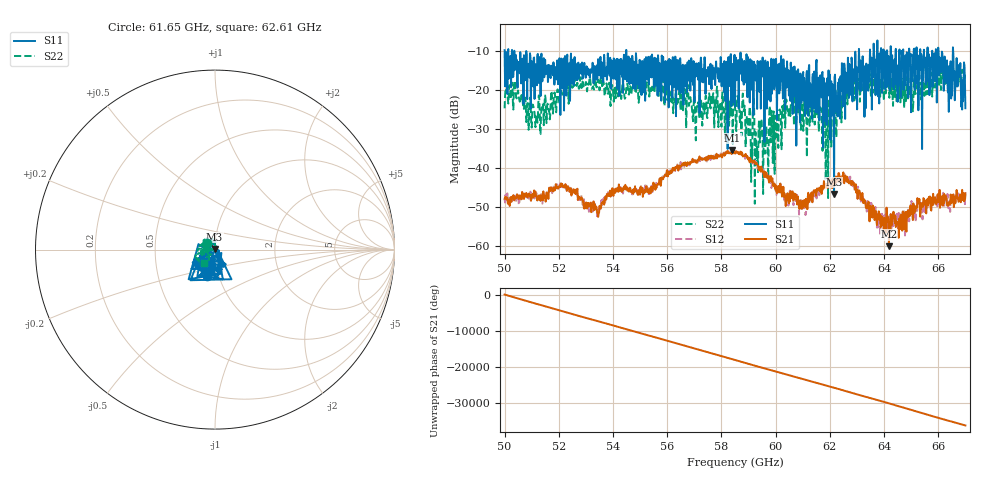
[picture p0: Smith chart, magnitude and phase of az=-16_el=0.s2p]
!Created with skrf (http://scikit-rf.org).
# GHz S RI R 50.0
!freq ReS11 ImS11 ReS21 ImS21 ReS12 ImS12 ReS22 ImS22
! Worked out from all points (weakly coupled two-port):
!   1001 points, 50 GHz to 67 GHz, reference 50 ohm
!   highest |S21| = -35.42 dB at 58.4 GHz (marker M1); lowest = -60.1 dB at 64.18 GHz (marker M2)
!   lowest |S11| = -46.7 dB at 62.16 GHz (marker M3), VSWR 1.01, Z = 49.7 + j0.387 ohm
!   |S11| at or under -10 dB: 50.8 GHz to 54.49 GHz (3.688 GHz wide, 7.01 % of centre); 54.49 GHz to 63.07 GHz (8.582 GHz wide, 14.6 % of centre); 66.01 GHz to 66.54 GHz (532 MHz wide, 0.803 % of centre) (the widest 3 of 28)
!   |S22| runs from -49.2 to -13.9 dB; largest |S21 - S12| = 0.0022
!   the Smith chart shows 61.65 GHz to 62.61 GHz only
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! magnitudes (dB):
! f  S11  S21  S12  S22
! 50 GHz  -9.8  -47.9  -48.0  -24.7
! 50.42 GHz  -13.3  -47.8  -48.3  -21.8
! 51.38 GHz  -16.4  -47.1  -47.8  -24.4
! 52.14 GHz  -19.6  -44.7  -44.5  -21.1
! 52.84 GHz  -13.8  -47.6  -47.3  -19.5
! 53.45 GHz  -12.1  -52.6  -50.7  -17.3
! 55.68 GHz  -13.4  -43.9  -44.2  -22.0
! 57 GHz  -23.0  -38.1  -38.1  -21.5
! 58.4 GHz  -13.3  -35.4  -35.6  -25.3
! 58.5 GHz  -24.2  -36.3  -35.9  -24.5
! 58.79 GHz  -13.9  -37.1  -36.5  -20.9
! 59.32 GHz  -24.9  -39.1  -39.2  -34.6
! 60.64 GHz  -14.2  -47.2  -48.0  -22.5
! 61.34 GHz  -27.4  -46.2  -47.9  -26.1
! 61.88 GHz  -29.0  -44.3  -43.9  -23.4
! 62.16 GHz  -46.7  -43.2  -42.7  -27.9
! 62.61 GHz  -20.8  -43.5  -42.5  -20.5
! 63.33 GHz  -24.6  -50.2  -48.9  -19.0
! 63.69 GHz  -21.3  -51.1  -50.1  -16.5
! 64.18 GHz  -18.6  -60.1  -52.4  -18.7
! 66.08 GHz  -15.3  -47.4  -47.4  -15.6
! 67 GHz  -24.7  -46.5  -46.6  -15.7
